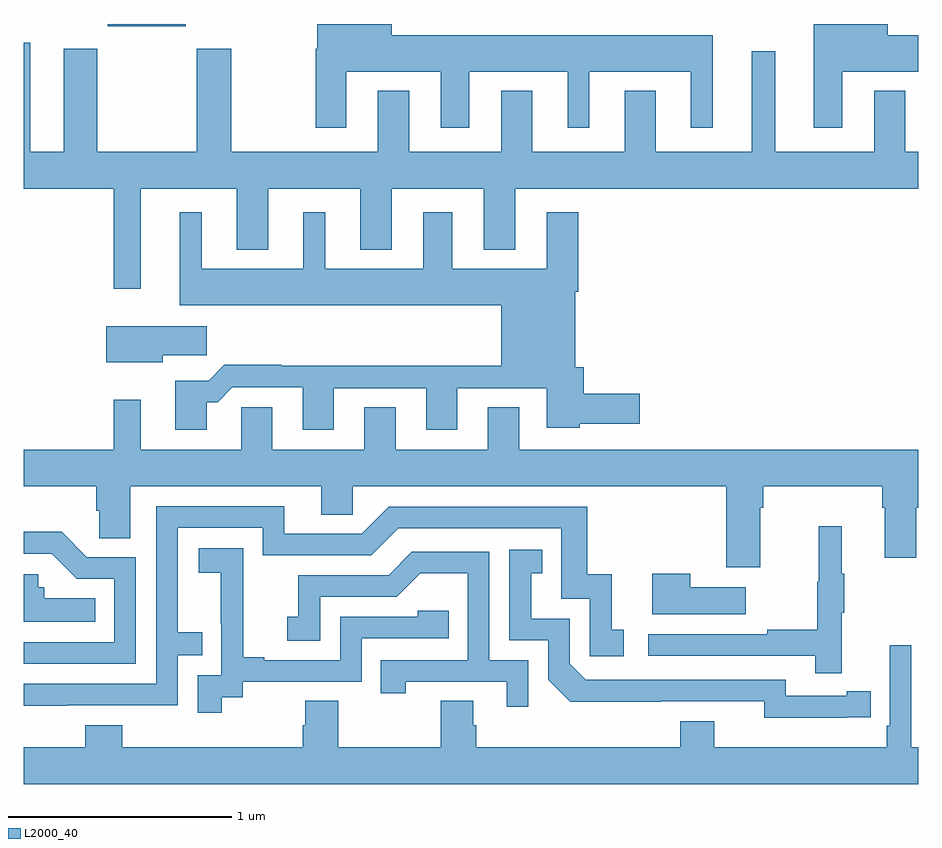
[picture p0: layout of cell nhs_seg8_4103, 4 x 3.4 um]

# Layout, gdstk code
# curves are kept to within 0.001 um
import gdstk
lib = gdstk.Library(unit=1e-6, precision=1e-09)
def R(c, l, rs):  # rectangles x0, y0, x1, y1
    for r in rs: c.add(gdstk.rectangle(r[:2], r[2:], *l))
def P(c, l, *ps):  # polygons
    for p in ps: c.add(gdstk.Polygon(p, *l))
L2000_40 = (2000, 40)

nhs_seg8_4103 = lib.new_cell('nhs_seg8_4103')
R(nhs_seg8_4103, L2000_40, [(363.374,1119.89,363.724,1119.9)])
P(nhs_seg8_4103, L2000_40, [(364.441,1119.686),(364.865,1119.686),(364.865,1119.435),(364.993,1119.435),(364.993,1119.686),(365.432,1119.686),(365.432,1119.435),(365.53,1119.435),(365.53,1119.686),(365.984,1119.686),(365.984,1119.435),(366.082,1119.435),(366.082,1119.85),(364.645,1119.85),(364.645,1119.9),(364.313,1119.9),(364.313,1119.79),(364.306,1119.79),(364.306,1119.435),(364.441,1119.435)],
  [(366.661,1119.686),(367,1119.686),(367,1119.85),(366.865,1119.85),(366.865,1119.9),(366.533,1119.9),(366.533,1119.435),(366.661,1119.435)],
  [(363.523,1119.164),(363.953,1119.164),(363.953,1118.891),(364.093,1118.891),(364.093,1119.164),(364.505,1119.164),(364.505,1118.891),(364.645,1118.891),(364.645,1119.164),(365.057,1119.164),(365.057,1118.891),(365.197,1118.891),(365.197,1119.164),(367,1119.164),(367,1119.328),(366.943,1119.328),(366.943,1119.601),(366.803,1119.601),(366.803,1119.328),(366.361,1119.328),(366.361,1119.778),(366.257,1119.778),(366.257,1119.328),(365.827,1119.328),(365.827,1119.601),(365.687,1119.601),(365.687,1119.328),(365.275,1119.328),(365.275,1119.601),(365.135,1119.601),(365.135,1119.328),(364.723,1119.328),(364.723,1119.601),(364.583,1119.601),(364.583,1119.328),(363.927,1119.328),(363.927,1119.79),(363.772,1119.79),(363.772,1119.328),(363.327,1119.328),(363.327,1119.79),(363.179,1119.79),(363.179,1119.328),(363.028,1119.328),(363.028,1119.817),(363,1119.817),(363,1119.164),(363.402,1119.164),(363.402,1118.715),(363.523,1118.715)],
  [(363.817,1118.207),(363.866,1118.207),(363.933,1118.274),(364.247,1118.274),(364.247,1118.085),(364.387,1118.085),(364.387,1118.271),(364.799,1118.271),(364.799,1118.085),(364.939,1118.085),(364.939,1118.271),(365.339,1118.271),(365.339,1118.093),(365.487,1118.093),(365.487,1118.111),(365.755,1118.111),(365.755,1118.246),(365.504,1118.246),(365.504,1118.364),(365.467,1118.364),(365.467,1118.702),(365.48,1118.702),(365.48,1119.058),(365.339,1119.058),(365.339,1118.806),(364.915,1118.806),(364.915,1119.058),(364.787,1119.058),(364.787,1118.806),(364.348,1118.806),(364.348,1119.058),(364.25,1119.058),(364.25,1118.806),(363.796,1118.806),(363.796,1119.058),(363.698,1119.058),(363.698,1118.642),(365.135,1118.642),(365.135,1118.372),(364.151,1118.372),(364.151,1118.375),(363.896,1118.375),(363.826,1118.305),(363.677,1118.305),(363.677,1118.085),(363.817,1118.085)],
  [(363.622,1118.419),(363.817,1118.419),(363.817,1118.548),(363.368,1118.548),(363.368,1118.387),(363.622,1118.387)],
  [(366.295,1117.736),(366.308,1117.736),(366.308,1117.832),(366.839,1117.832),(366.839,1117.736),(366.851,1117.736),(366.851,1117.512),(366.991,1117.512),(366.991,1117.736),(367,1117.736),(367,1117.996),(365.215,1117.996),(365.215,1118.186),(365.075,1118.186),(365.075,1117.996),(364.663,1117.996),(364.663,1118.186),(364.523,1118.186),(364.523,1117.996),(364.111,1117.996),(364.111,1118.186),(363.972,1118.186),(363.972,1117.996),(363.523,1117.996),(363.523,1118.218),(363.402,1118.218),(363.402,1117.996),(363,1117.996),(363,1117.832),(363.323,1117.832),(363.323,1117.723),(363.336,1117.723),(363.336,1117.6),(363.475,1117.6),(363.475,1117.832),(364.331,1117.832),(364.331,1117.705),(364.47,1117.705),(364.47,1117.832),(366.143,1117.832),(366.143,1117.47),(366.295,1117.47)],
  [(363.191,1116.852),(363.687,1116.852),(363.687,1117.077),(363.797,1117.077),(363.797,1117.178),(363.687,1117.178),(363.687,1117.647),(364.068,1117.647),(364.068,1117.524),(364.554,1117.524),(364.674,1117.644),(365.403,1117.644),(365.403,1117.329),(365.532,1117.329),(365.532,1117.071),(365.683,1117.071),(365.683,1117.191),(365.63,1117.191),(365.63,1117.438),(365.519,1117.438),(365.519,1117.74),(364.632,1117.74),(364.512,1117.62),(364.165,1117.62),(364.165,1117.743),(363.591,1117.743),(363.591,1116.948),(363,1116.948),(363,1116.851)],
  [(366.659,1117.267),(366.67,1117.267),(366.67,1117.441),(366.659,1117.441),(366.659,1117.654),(366.556,1117.654),(366.556,1117.404),(366.549,1117.404),(366.549,1117.19),(366.325,1117.19),(366.325,1117.17),(365.793,1117.17),(365.793,1117.074),(366.541,1117.074),(366.541,1116.996),(366.659,1116.996)],
  [(363.501,1117.515),(363.282,1117.515),(363.169,1117.628),(363,1117.628),(363,1117.53),(363.125,1117.53),(363.236,1117.419),(363.405,1117.419),(363.405,1117.134),(363,1117.134),(363,1117.038),(363.501,1117.038)],
  [(363.886,1116.889),(363.978,1116.889),(363.978,1116.957),(364.512,1116.957),(364.512,1117.152),(364.901,1117.152),(364.901,1117.275),(364.761,1117.275),(364.761,1117.248),(364.416,1117.248),(364.416,1117.053),(364.075,1117.053),(364.075,1117.066),(363.98,1117.066),(363.98,1117.349),(363.981,1117.349),(363.981,1117.555),(363.783,1117.555),(363.783,1117.445),(363.881,1117.445),(363.881,1117.217),(363.882,1117.217),(363.882,1116.987),(363.777,1116.987),(363.777,1116.819),(363.886,1116.819)],
  [(366.68,1116.798),(366.788,1116.798),(366.788,1116.914),(366.68,1116.914),(366.68,1116.894),(366.408,1116.894),(366.408,1116.966),(365.514,1116.966),(365.442,1117.038),(365.442,1117.239),(365.269,1117.239),(365.269,1117.443),(365.318,1117.443),(365.318,1117.549),(365.172,1117.549),(365.172,1117.143),(365.346,1117.143),(365.346,1116.966),(365.444,1116.869),(366.312,1116.87),(366.312,1116.797)],
  [(365.256,1117.053),(365.082,1117.053),(365.082,1117.539),(364.736,1117.539),(364.631,1117.434),(364.228,1117.434),(364.228,1117.249),(364.179,1117.249),(364.179,1117.14),(364.326,1117.14),(364.326,1117.338),(364.668,1117.338),(364.772,1117.442),(364.986,1117.442),(364.986,1117.053),(364.597,1117.053),(364.597,1116.906),(364.708,1116.906),(364.708,1116.957),(365.159,1116.957),(365.159,1116.846),(365.256,1116.846)],
  [(366.229,1117.381),(365.981,1117.381),(365.981,1117.441),(365.81,1117.441),(365.81,1117.259),(366.229,1117.259)],
  [(363.32,1117.33),(363.09,1117.33),(363.09,1117.38),(363.063,1117.38),(363.063,1117.438),(363,1117.438),(363,1117.226),(363.32,1117.226)],
  [(367,1116.664),(366.97,1116.664),(366.97,1117.12),(366.873,1117.12),(366.873,1116.76),(366.86,1116.76),(366.86,1116.664),(366.088,1116.664),(366.088,1116.781),(365.936,1116.781),(365.936,1116.664),(365.024,1116.664),(365.024,1116.762),(365.011,1116.762),(365.011,1116.872),(364.864,1116.872),(364.864,1116.664),(364.407,1116.664),(364.407,1116.872),(364.259,1116.872),(364.259,1116.762),(364.247,1116.762),(364.247,1116.664),(363.44,1116.664),(363.44,1116.763),(363.275,1116.763),(363.275,1116.664),(363,1116.664),(363,1116.5),(367,1116.5)])

lib.write_gds('nhs_seg8_4103.gds')
